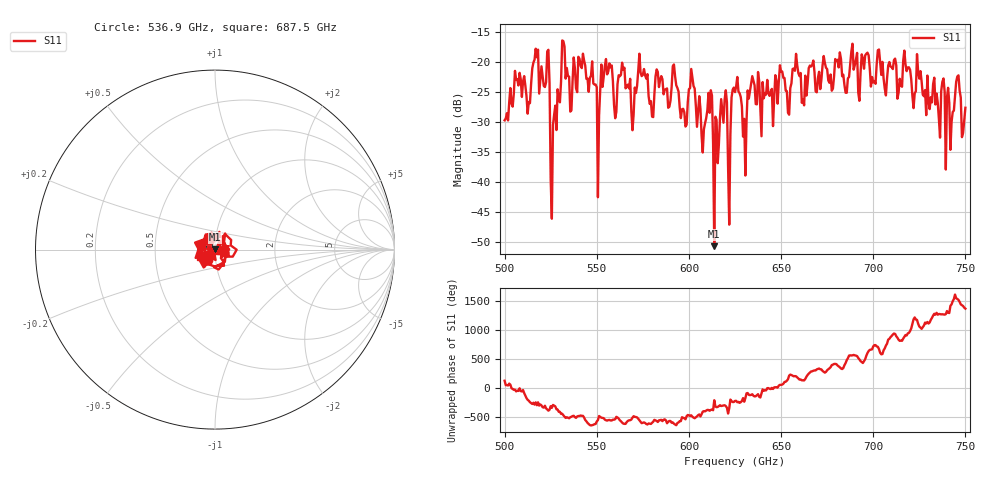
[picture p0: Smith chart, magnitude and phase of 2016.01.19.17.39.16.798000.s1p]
!Created with skrf (http://scikit-rf.org).
# GHz S RI R 50.0
!freq ReS11 ImS11
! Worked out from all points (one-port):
!   401 points, 500 GHz to 750 GHz, reference 50 ohm
!   lowest |S11| = -50.6 dB at 613.8 GHz (marker M1), VSWR 1.01, Z = 49.8 + j0.153 ohm
!   |S11| at or under -10 dB: start of sweep to end of sweep
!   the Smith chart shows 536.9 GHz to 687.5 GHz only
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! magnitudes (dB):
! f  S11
! 500 GHz  -29.7
! 506.9 GHz  -22.9
! 513.1 GHz  -26.6
! 516.9 GHz  -17.8
! 523.1 GHz  -18.2
! 526.2 GHz  -30.5
! 531.2 GHz  -16.4
! 548.1 GHz  -23.6
! 550.6 GHz  -42.5
! 553.8 GHz  -22.5
! 562.5 GHz  -22.4
! 570 GHz  -28.7
! 573.8 GHz  -21.7
! 593.8 GHz  -24.3
! 597.5 GHz  -28.4
! 601.9 GHz  -22.6
! 608.1 GHz  -31.2
! 611.2 GHz  -28.4
! 613.8 GHz  -50.6
! 618.8 GHz  -30.1
! 622.5 GHz  -32.0
! 625 GHz  -25.0
! 630 GHz  -29.4
! 634.4 GHz  -22.3
! 656.2 GHz  -21.1
! 687.5 GHz  -20.4
! 718.8 GHz  -20.9
! 750 GHz  -27.6
